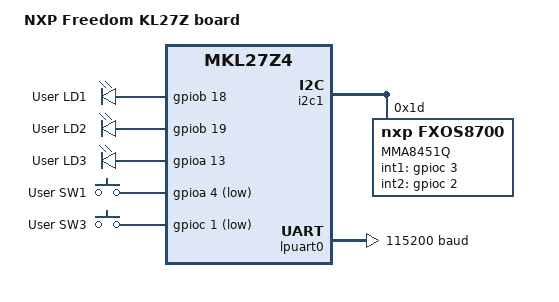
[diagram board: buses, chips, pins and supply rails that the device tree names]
/* SPDX-License-Identifier: Apache-2.0 */

/dts-v1/;

#include <nxp/nxp_kl27z.dtsi>

/ {
	model = "NXP Freedom KL27Z board";
	compatible = "nxp,frdm-kl27z", "nxp,kl27z", "nxp,mkl27z4";

	aliases {
		//adc-0 = &adc0;
		lpuart-0 = &lpuart0;
		i2c-0 = &i2c0;
		i2c-1 = &i2c1;
		gpio-a = &gpioa;
		gpio-b = &gpiob;
		gpio-c = &gpioc;
		gpio-d = &gpiod;
		gpio-e = &gpioe;
		led0 = &green_led;
		led1 = &blue_led;
		led2 = &red_led;
		sw0 = &user_button_0;
		sw1 = &user_button_1;
	};

	chosen {
		zephyr,sram = &sram0;
		zephyr,flash = &flash0;
		zephyr,console = &lpuart0;
		zephyr,shell-uart = &lpuart0;
	};

	leds {
		compatible = "gpio-leds";
		red_led: led_0 {
			gpios = <&gpiob 18 0>;
			label = "User LD1";
		};
		green_led: led_1 {
			gpios = <&gpiob 19 0>;
			label = "User LD2";
		};
		blue_led: led_2 {
			gpios = <&gpioa 13 0>;
			label = "User LD3";
		};
	};

	gpio_keys {
		compatible = "gpio-keys";
		user_button_0: button_0 {
			label = "User SW1";
			gpios = <&gpioa 4 GPIO_INT_ACTIVE_LOW>;
		};
		user_button_1: button_1 {
			label = "User SW3";
			gpios = <&gpioc 1 GPIO_INT_ACTIVE_LOW>;
		};
	};

};

/*
&adc0 {
	status = "ok";
};
*/

&i2c1 {
	status = "ok";
	mma8451q@1d {
		compatible = "nxp,fxos8700","nxp,mma8451q";
		reg = <0x1d>;
		label = "MMA8451Q";
		int1-gpios = <&gpioc 3 0>;
		int2-gpios = <&gpioc 2 0>;
	};
};

&lpuart0 {
	status = "ok";
	current-speed = <115200>;
};
/*
&usbd {
	compatible = "nxp,kinetis-usbd";
	status = "ok";
	num-bidir-endpoints = <8>;
};
*/
